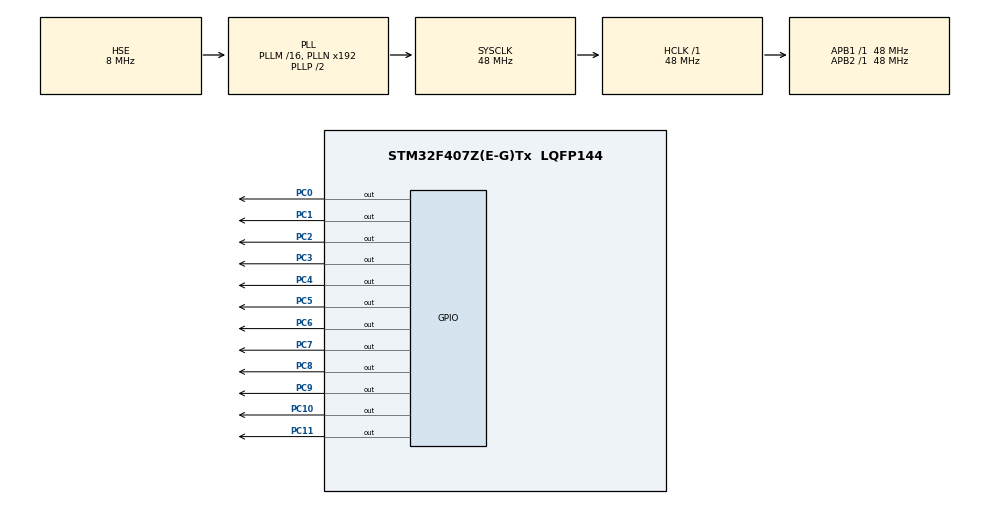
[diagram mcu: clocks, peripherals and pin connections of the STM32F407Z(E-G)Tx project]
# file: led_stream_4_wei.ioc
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Mcu.Family=STM32F4
Mcu.Name=STM32F407Z(E-G)Tx
Mcu.Package=LQFP144
NVIC.PriorityGroup=NVIC_PRIORITYGROUP_4
PA13.Mode=Serial_Wire
PA13.Signal=SYS_JTMS-SWDIO
PA14.Mode=Serial_Wire
PA14.Signal=SYS_JTCK-SWCLK
PC0.Signal=GPIO_Output
PC1.Signal=GPIO_Output
PC10.Signal=GPIO_Output
PC11.Signal=GPIO_Output
PC2.Signal=GPIO_Output
PC3.Signal=GPIO_Output
PC4.Signal=GPIO_Output
PC5.Signal=GPIO_Output
PC6.Signal=GPIO_Output
PC7.Signal=GPIO_Output
PC8.Signal=GPIO_Output
PC9.Signal=GPIO_Output
PH0-OSC_IN.Mode=HSE-External-Oscillator
PH0-OSC_IN.Signal=RCC_OSC_IN
PH1-OSC_OUT.Mode=HSE-External-Oscillator
PH1-OSC_OUT.Signal=RCC_OSC_OUT
ProjectManager.HeapSize=0x200
ProjectManager.StackSize=0x400
ProjectManager.TargetToolchain=CMake
RCC.48MHZClocksFreq_Value=24000000
RCC.AHBFreq_Value=48000000
RCC.APB1Freq_Value=48000000
RCC.APB1TimFreq_Value=48000000
RCC.APB2Freq_Value=48000000
RCC.APB2TimFreq_Value=48000000
RCC.CortexFreq_Value=48000000
RCC.HCLKFreq_Value=48000000
RCC.HSE_VALUE=8000000
RCC.HSI_VALUE=16000000
RCC.LSE_VALUE=32768
RCC.PLLSourceVirtual=RCC_PLLSOURCE_HSE
RCC.SYSCLKFreq_VALUE=48000000
RCC.SYSCLKSource=RCC_SYSCLKSOURCE_PLLCLK
RCC.VCOOutputFreq_Value=96000000
board=custom

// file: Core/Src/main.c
/* USER CODE BEGIN Header */
/**
  ******************************************************************************
  * @file           : main.c
  * @brief          : Main program body
  ******************************************************************************
  * @attention
  *
  * Copyright (c) 2025 STMicroelectronics.
  * All rights reserved.
  *
  * This software is licensed under terms that can be found in the LICENSE file
  * in the root directory of this software component.
  * If no LICENSE file comes with this software, it is provided AS-IS.
  *
  ******************************************************************************
  */
/* USER CODE END Header */
#include "main.h"
#include "gpio.h"

void SystemClock_Config(void);

/* USER CODE BEGIN 0 */

uint8_t zhenzhi[16]={0x3F,0x06,0x5B,0x4F,0x66,0x6D,0x7D,0x07,0x7F,0x6F,0x77,0x7C,0x39,0x5E,0x79,0x71};

void Display(uint8_t wei,uint8_t pian) {

  uint8_t temp=GPIOC->ODR;
  temp &= 0xFF00;

  HAL_GPIO_WritePin(GPIOC,GPIO_PIN_8,1);
  HAL_GPIO_WritePin(GPIOC,GPIO_PIN_9,1);
  HAL_GPIO_WritePin(GPIOC,GPIO_PIN_11,1);
  HAL_GPIO_WritePin(GPIOC,GPIO_PIN_10,1);
  temp |= zhenzhi[wei];
  GPIOC->ODR=temp;

switch(pian) {
  case 0: HAL_GPIO_WritePin(GPIOC,GPIO_PIN_8,0);break;
    case 1: HAL_GPIO_WritePin(GPIOC,GPIO_PIN_9,0);break;
    case 2: HAL_GPIO_WritePin(GPIOC,GPIO_PIN_10,0);break;
    case 3: HAL_GPIO_WritePin(GPIOC,GPIO_PIN_11,0);break;
}

}

/* USER CODE END 0 */

int main(void)
{

  /* MCU Configuration--------------------------------------------------------*/

  /* Reset of all peripherals, Initializes the Flash interface and the Systick. */
  HAL_Init();

  /* Configure the system clock */
  SystemClock_Config();

  /* Initialize all configured peripherals */
  MX_GPIO_Init();

  /* Infinite loop */
  /* USER CODE BEGIN WHILE */
  while (1)
  {
  uint16_t sec=0;
    uint8_t gw,sw,bw,qw;
while (sec<=9999) {
   gw=sec%10;
  sw=sec/10%10;
  bw=sec/100%10;
  qw=sec/1000%10;
  if (sec==9999) sec=0;
  Display(gw,0);
  HAL_Delay(2);
  Display(sw,1);
  HAL_Delay(2);
  Display(bw,2);
  HAL_Delay(2);
  Display(qw,3);
  HAL_Delay(2);
  sec++;
}

    }
    /* USER CODE END WHILE */

}

void SystemClock_Config(void)
{
  RCC_OscInitTypeDef RCC_OscInitStruct = {0};
  RCC_ClkInitTypeDef RCC_ClkInitStruct = {0};

  /** Configure the main internal regulator output voltage
  */
  __HAL_RCC_PWR_CLK_ENABLE();
  __HAL_PWR_VOLTAGESCALING_CONFIG(PWR_REGULATOR_VOLTAGE_SCALE1);

  /** Initializes the RCC Oscillators according to the specified parameters
  * in the RCC_OscInitTypeDef structure.
  */
  RCC_OscInitStruct.OscillatorType = RCC_OSCILLATORTYPE_HSE;
  RCC_OscInitStruct.HSEState = RCC_HSE_ON;
  RCC_OscInitStruct.PLL.PLLState = RCC_PLL_ON;
  RCC_OscInitStruct.PLL.PLLSource = RCC_PLLSOURCE_HSE;
  RCC_OscInitStruct.PLL.PLLM = 16;
  RCC_OscInitStruct.PLL.PLLN = 192;
  RCC_OscInitStruct.PLL.PLLP = RCC_PLLP_DIV2;
  RCC_OscInitStruct.PLL.PLLQ = 4;
  if (HAL_RCC_OscConfig(&RCC_OscInitStruct) != HAL_OK)
  {
    Error_Handler();
  }

  /** Initializes the CPU, AHB and APB buses clocks
  */
  RCC_ClkInitStruct.ClockType = RCC_CLOCKTYPE_HCLK|RCC_CLOCKTYPE_SYSCLK
                              |RCC_CLOCKTYPE_PCLK1|RCC_CLOCKTYPE_PCLK2;
  RCC_ClkInitStruct.SYSCLKSource = RCC_SYSCLKSOURCE_PLLCLK;
  RCC_ClkInitStruct.AHBCLKDivider = RCC_SYSCLK_DIV1;
  RCC_ClkInitStruct.APB1CLKDivider = RCC_HCLK_DIV1;
  RCC_ClkInitStruct.APB2CLKDivider = RCC_HCLK_DIV1;

  if (HAL_RCC_ClockConfig(&RCC_ClkInitStruct, FLASH_LATENCY_1) != HAL_OK)
  {
    Error_Handler();
  }
}

void Error_Handler(void)
{
  __disable_irq();
  while (1)
  {
  }
}
